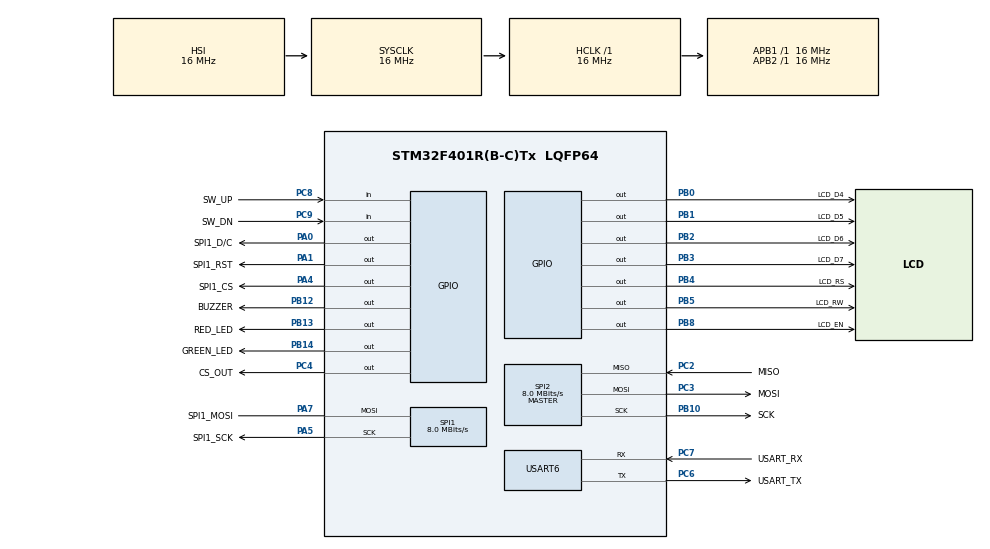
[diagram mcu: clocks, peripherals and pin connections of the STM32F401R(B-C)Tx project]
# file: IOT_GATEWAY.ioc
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Mcu.Family=STM32F4
Mcu.Name=STM32F401R(B-C)Tx
Mcu.Package=LQFP64
NVIC.PriorityGroup=NVIC_PRIORITYGROUP_4
NVIC.SPI2_IRQn=true\:0\:0\:false\:false\:true\:true\:true\:true
NVIC.USART6_IRQn=true\:0\:0\:false\:false\:true\:true\:true\:true
PA0-WKUP.GPIO_Label=SPI1_D/C
PA0-WKUP.Signal=GPIO_Output
PA1.GPIO_Label=SPI1_RST
PA1.Signal=GPIO_Output
PA13.Mode=Serial_Wire
PA13.Signal=SYS_JTMS-SWDIO
PA14.Mode=Serial_Wire
PA14.Signal=SYS_JTCK-SWCLK
PA4.GPIO_Label=SPI1_CS
PA4.Signal=GPIO_Output
PA5.GPIO_Label=SPI1_SCK
PA5.Mode=Simplex_Bidirectional_Master
PA5.Signal=SPI1_SCK
PA7.GPIO_Label=SPI1_MOSI
PA7.Mode=Simplex_Bidirectional_Master
PA7.Signal=SPI1_MOSI
PB0.GPIO_Label=LCD_D4
PB0.Signal=GPIO_Output
PB1.GPIO_Label=LCD_D5
PB1.Signal=GPIO_Output
PB10.GPIO_Label=SCK
PB10.GPIO_PuPd=GPIO_PULLUP
PB10.Mode=Full_Duplex_Master
PB10.Signal=SPI2_SCK
PB12.GPIO_Label=BUZZER
PB12.Signal=GPIO_Output
PB13.GPIO_Label=RED_LED
PB13.Signal=GPIO_Output
PB14.GPIO_Label=GREEN_LED
PB14.Signal=GPIO_Output
PB2.GPIO_Label=LCD_D6
PB2.Signal=GPIO_Output
PB3.GPIO_Label=LCD_D7
PB3.Signal=GPIO_Output
PB4.GPIO_Label=LCD_RS
PB4.Signal=GPIO_Output
PB5.GPIO_Label=LCD_RW
PB5.Signal=GPIO_Output
PB8.GPIO_Label=LCD_EN
PB8.Signal=GPIO_Output
PC2.GPIO_Label=MISO
PC2.GPIO_PuPd=GPIO_PULLUP
PC2.Mode=Full_Duplex_Master
PC2.Signal=SPI2_MISO
PC3.GPIO_Label=MOSI
PC3.GPIO_PuPd=GPIO_PULLUP
PC3.Mode=Full_Duplex_Master
PC3.Signal=SPI2_MOSI
PC4.GPIO_Label=CS_OUT
PC4.GPIO_PuPd=GPIO_PULLUP
PC4.Signal=GPIO_Output
PC6.GPIO_Label=USART_TX
PC6.Mode=Asynchronous
PC6.Signal=USART6_TX
PC7.GPIO_Label=USART_RX
PC7.Mode=Asynchronous
PC7.Signal=USART6_RX
PC8.GPIO_Label=SW_UP
PC8.GPIO_PuPd=GPIO_PULLUP
PC8.Signal=GPIO_Input
PC9.GPIO_Label=SW_DN
PC9.GPIO_PuPd=GPIO_PULLUP
PC9.Signal=GPIO_Input
ProjectManager.HeapSize=0x200
ProjectManager.StackSize=0x400
ProjectManager.TargetToolchain=STM32CubeIDE
RCC.AHBFreq_Value=16000000
RCC.APB1Freq_Value=16000000
RCC.APB2Freq_Value=16000000
RCC.CortexFreq_Value=16000000
RCC.HSE_VALUE=25000000
RCC.HSI_VALUE=16000000
RCC.LSE_VALUE=32768
RCC.SYSCLKFreq_VALUE=16000000
RCC.VCOOutputFreq_Value=192000000
SPI1.CalculateBaudRate=8.0 MBits/s
SPI1.Direction=SPI_DIRECTION_1LINE
SPI1.Mode=SPI_MODE_MASTER
SPI1.VirtualType=VM_MASTER
SPI2.CalculateBaudRate=8.0 MBits/s
SPI2.Direction=SPI_DIRECTION_2LINES
SPI2.Mode=SPI_MODE_MASTER
SPI2.VirtualType=VM_MASTER
USART6.VirtualMode=VM_ASYNC
board=custom

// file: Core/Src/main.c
/* USER CODE BEGIN Header */
/*
 * Project Name: INDUSTRIAL CAN IOT GATEWAY
 *
 * Controller: STM32F401RBT6
 *
 * Peripherals

  		Switches--->	SW_UP: PC8 SW_DN: PC9

 		SPI2------->	SPI for MCP2515:
			 	 	 	SPI2 MOSI: PC3
                        SPI2 MISO: PC2
                        SPI2 CS  : PC4
                        SPI2 SCK : PB10

        UART6------->   UART6 for ESP8266:
                        UART6 TX: PC6
                        UART6 RX: PC7

        LCD Pins:--->   Data   : GPIOB PB0 TO PB6 AND PB8
                        Control: GPIOB PB3

        CAN Bus:--->	MCP2515 connected to CAN_H and CAN_L.
 *
 * Team Members: VISWANADHUNI TEJO PRAPULLA
 *               DUPAGUNTLA VENKATA SIVA BABA
 *               SHAPARTHI NIKHIL
 *               GADDE VIDHYADHARI
 *               KOMMINENI CHANDU MANI SAI
 *               SUNKU SRIDEVI
 *
 *
 *

  ******************************************************************************
  * @file           : main.c
  * @brief          : Main program body
  ******************************************************************************
  * @attention
  *
  * Copyright (c) 2024 STMicroelectronics.
  * All rights reserved.
  *
  * This software is licensed under terms that can be found in the LICENSE file
  * in the root directory of this software component.
  * If no LICENSE file comes with this software, it is provided AS-IS.
  *
  ******************************************************************************
  */
/* USER CODE END Header */
#include "main.h"

/* USER CODE BEGIN Includes */
#include "CANSPI.h"
//#include "16x2_LCD.h"
#include "USART6.h"
#include "stdio.h"
#include "st7735.h"
//#include "img.h"
#include "fonts.h"
//#include "GFX.h"
/* USER CODE END Includes */

SPI_HandleTypeDef hspi1;
SPI_HandleTypeDef hspi2;

UART_HandleTypeDef huart6;

/* USER CODE BEGIN PV */
int DATA_RECIEVED;         //VARIABLE FOR CHECKING THE TASK 2
uCAN_MSG Msg;             //CAN MESSAGE STRUCTURE
unsigned int temp,node;   //VARIABLES FOR TEMPERATURE AND NODE_ID
char data[20];            //CHAR ARRAY FOR PRINTING IN LCD

/* USER CODE END PV */

void SystemClock_Config(void);
static void MX_GPIO_Init(void);
static void MX_SPI2_Init(void);
static void MX_USART6_UART_Init(void);
static void MX_SPI1_Init(void);
/* USER CODE BEGIN PFP */
void TASK1_CAN_DataFrame(void);
void Task2_CAN_ResponseFrame(void);
void Task3__KMserver(void);
/* USER CODE END PFP */

int main(void)
{

  /* MCU Configuration--------------------------------------------------------*/

  /* Reset of all peripherals, Initializes the Flash interface and the Systick. */
  HAL_Init();

  /* Configure the system clock */
  SystemClock_Config();

  /* Initialize all configured peripherals */
  MX_GPIO_Init();
  MX_SPI2_Init();
  MX_USART6_UART_Init();
  MX_SPI1_Init();
  /* USER CODE BEGIN 2 */
  CANSPI_Initialize();
  ST7735_Init();

 // testAll();
 // testFilledRoundRects();
 // while(1);

  ST7735_FillScreen(ST7735_BLACK);
  ST7735_WriteString(45, 30, "Welcome", Font_11x18, ST7735_WHITE, ST7735_BLACK);
  HAL_Delay(100);
  ST7735_WriteString(70, 50, "to", Font_11x18, ST7735_WHITE, ST7735_BLACK);
  HAL_Delay(100);
  ST7735_WriteString(5, 73, "Kernel Masters", Font_11x18, ST7735_WHITE, ST7735_BLACK);
  HAL_Delay(500);

  ST7735_WriteString(45, 30, "       ", Font_11x18, ST7735_WHITE, ST7735_BLACK);
   HAL_Delay(100);
   ST7735_WriteString(25, 50, "Presenting", Font_11x18, ST7735_WHITE, ST7735_BLACK);
   HAL_Delay(100);
   ST7735_WriteString(5, 73, "    you...    ", Font_11x18, ST7735_WHITE, ST7735_BLACK);
   HAL_Delay(1000);

  ST7735_FillScreenFast(ST7735_BLACK);
  //testFilledCircles(10, ST7735_RED);
 // testFastLines(ST7735_RED, ST7735_BLUE);

  ST7735_WriteString(30, 20, "Industial", Font_11x18, ST7735_WHITE, ST7735_BLACK);
  ST7735_WriteString(10, 50, "CAN - IOT", Font_16x26, ST7735_WHITE, ST7735_BLACK);
  ST7735_WriteString(43, 85, "GATEWAY", Font_11x18, ST7735_WHITE, ST7735_BLACK);
  //ST7735_WriteString(35, 30, "Industial CAN IOT GATEWAY ", Font_11x18, ST7735_WHITE, ST7735_BLACK);

 // while(1);
  HAL_Delay(200);

  ST7735_FillScreenFast(ST7735_BLACK);
  ST7735_WriteString(15, 45, "Initializing", Font_11x18, ST7735_WHITE, ST7735_BLACK);
  ST7735_WriteString(45, 75, "Wi-Fi", Font_11x18, ST7735_WHITE, ST7735_BLACK);
  Wifi_Init();
  for(int i=0;i<10;i++)
  {
	  ST7735_WriteString(100, 75, "   ", Font_11x18, ST7735_WHITE, ST7735_BLACK);
	  HAL_Delay(150);
	  ST7735_WriteString(100, 75, "...", Font_11x18, ST7735_WHITE, ST7735_BLACK);
  }

  ST7735_FillScreenFast(ST7735_BLACK);
  //ST7735_DrawImage(0, 0, 128, 160, (uint16_t *)logo);
  ST7735_WriteString(5, 5, "KERNEL MASTERS", Font_11x18, ST7735_WHITE, ST7735_BLACK);
  ST7735_WriteString(20, 25, "IOT GATEWAY", Font_11x18, ST7735_WHITE, ST7735_BLACK);
  ST7735_WriteString(5, 50, "Node1:", Font_11x18, ST7735_WHITE, ST7735_BLACK);
  ST7735_WriteString(5, 70, "Node2:", Font_11x18, ST7735_WHITE, ST7735_BLACK);

  //while(1);
  //HAL_Delay(1500);
 // Wifi_Init();
  //ST7735_FillScreen(ST7735_BLACK);
  //ST7735_WriteString(0, 30, "SELECT        NODE1:SW_UP   NODE2:SW_DN ", Font_11x18, ST7735_WHITE, ST7735_BLACK);

  /*
  KM_LCD_Init();

  KM_LCD_Write_Cmd(0x80);
  KM_LCD_Write_Str(" Industrial CAN");
  KM_LCD_Write_Cmd(0xc0);
  KM_LCD_Write_Str("  IOT GATEWAY");
  HAL_Delay(1500);
  KM_LCD_Write_Cmd(0x01);
  KM_LCD_Write_Cmd(0x80);
  KM_LCD_Write_Str("  Initializing");
  KM_LCD_Write_Cmd(0xc0);
  KM_LCD_Write_Str("     Wi-Fi");

  Wifi_Init();
  KM_LCD_Write_Cmd(0x01);
  KM_LCD_Write_Cmd(0x80);
  KM_LCD_Write_Str("SELECT :SW_UP");
  KM_LCD_Write_Cmd(0xc0);
  KM_LCD_Write_Str("        SW_DN");

*/

  /* USER CODE END 2 */

  /* Infinite loop */
  while (1)
  {

    /* USER CODE BEGIN 3 */
	TASK1_CAN_DataFrame();     //SENDS DATA REQUEST TO NODE

	Task2_CAN_ResponseFrame();   //RECIEVES DATA FROM NODE

	if(DATA_RECIEVED)            //CHECKING IF THE DATA RECIEVED OR NOT
	{
		 Task3__KMserver();        //IF DATA RECIEVED SENDING TO KM SERVER
		 DATA_RECIEVED = 0;
	}

  }
  /* USER CODE END 3 */
}

void SystemClock_Config(void)
{
  RCC_OscInitTypeDef RCC_OscInitStruct = {0};
  RCC_ClkInitTypeDef RCC_ClkInitStruct = {0};

  /** Configure the main internal regulator output voltage
  */
  __HAL_RCC_PWR_CLK_ENABLE();
  __HAL_PWR_VOLTAGESCALING_CONFIG(PWR_REGULATOR_VOLTAGE_SCALE2);

  /** Initializes the RCC Oscillators according to the specified parameters
  * in the RCC_OscInitTypeDef structure.
  */
  RCC_OscInitStruct.OscillatorType = RCC_OSCILLATORTYPE_HSI;
  RCC_OscInitStruct.HSIState = RCC_HSI_ON;
  RCC_OscInitStruct.HSICalibrationValue = RCC_HSICALIBRATION_DEFAULT;
  RCC_OscInitStruct.PLL.PLLState = RCC_PLL_NONE;
  if (HAL_RCC_OscConfig(&RCC_OscInitStruct) != HAL_OK)
  {
    Error_Handler();
  }

  /** Initializes the CPU, AHB and APB buses clocks
  */
  RCC_ClkInitStruct.ClockType = RCC_CLOCKTYPE_HCLK|RCC_CLOCKTYPE_SYSCLK
                              |RCC_CLOCKTYPE_PCLK1|RCC_CLOCKTYPE_PCLK2;
  RCC_ClkInitStruct.SYSCLKSource = RCC_SYSCLKSOURCE_HSI;
  RCC_ClkInitStruct.AHBCLKDivider = RCC_SYSCLK_DIV1;
  RCC_ClkInitStruct.APB1CLKDivider = RCC_HCLK_DIV1;
  RCC_ClkInitStruct.APB2CLKDivider = RCC_HCLK_DIV1;

  if (HAL_RCC_ClockConfig(&RCC_ClkInitStruct, FLASH_LATENCY_0) != HAL_OK)
  {
    Error_Handler();
  }
}

static void MX_SPI1_Init(void)
{

  /* SPI1 parameter configuration*/
  hspi1.Instance = SPI1;
  hspi1.Init.Mode = SPI_MODE_MASTER;
  hspi1.Init.Direction = SPI_DIRECTION_1LINE;
  hspi1.Init.DataSize = SPI_DATASIZE_8BIT;
  hspi1.Init.CLKPolarity = SPI_POLARITY_LOW;
  hspi1.Init.CLKPhase = SPI_PHASE_1EDGE;
  hspi1.Init.NSS = SPI_NSS_SOFT;
  hspi1.Init.BaudRatePrescaler = SPI_BAUDRATEPRESCALER_2;
  hspi1.Init.FirstBit = SPI_FIRSTBIT_MSB;
  hspi1.Init.TIMode = SPI_TIMODE_DISABLE;
  hspi1.Init.CRCCalculation = SPI_CRCCALCULATION_DISABLE;
  hspi1.Init.CRCPolynomial = 10;
  if (HAL_SPI_Init(&hspi1) != HAL_OK)
  {
    Error_Handler();
  }

}

static void MX_SPI2_Init(void)
{

  /* SPI2 parameter configuration*/
  hspi2.Instance = SPI2;
  hspi2.Init.Mode = SPI_MODE_MASTER;
  hspi2.Init.Direction = SPI_DIRECTION_2LINES;
  hspi2.Init.DataSize = SPI_DATASIZE_8BIT;
  hspi2.Init.CLKPolarity = SPI_POLARITY_LOW;
  hspi2.Init.CLKPhase = SPI_PHASE_1EDGE;
  hspi2.Init.NSS = SPI_NSS_SOFT;
  hspi2.Init.BaudRatePrescaler = SPI_BAUDRATEPRESCALER_2;
  hspi2.Init.FirstBit = SPI_FIRSTBIT_MSB;
  hspi2.Init.TIMode = SPI_TIMODE_DISABLE;
  hspi2.Init.CRCCalculation = SPI_CRCCALCULATION_DISABLE;
  hspi2.Init.CRCPolynomial = 10;
  if (HAL_SPI_Init(&hspi2) != HAL_OK)
  {
    Error_Handler();
  }

}

static void MX_USART6_UART_Init(void)
{

  huart6.Instance = USART6;
  huart6.Init.BaudRate = 115200;
  huart6.Init.WordLength = UART_WORDLENGTH_8B;
  huart6.Init.StopBits = UART_STOPBITS_1;
  huart6.Init.Parity = UART_PARITY_NONE;
  huart6.Init.Mode = UART_MODE_TX_RX;
  huart6.Init.HwFlowCtl = UART_HWCONTROL_NONE;
  huart6.Init.OverSampling = UART_OVERSAMPLING_16;
  if (HAL_UART_Init(&huart6) != HAL_OK)
  {
    Error_Handler();
  }

}

static void MX_GPIO_Init(void)
{
  GPIO_InitTypeDef GPIO_InitStruct = {0};

  /* GPIO Ports Clock Enable */
  __HAL_RCC_GPIOC_CLK_ENABLE();
  __HAL_RCC_GPIOA_CLK_ENABLE();
  __HAL_RCC_GPIOB_CLK_ENABLE();

  /*Configure GPIO pin Output Level */
  HAL_GPIO_WritePin(GPIOA, SPI1_D_C_Pin|SPI1_RST_Pin|SPI1_CS_Pin, GPIO_PIN_RESET);

  /*Configure GPIO pin Output Level */
  HAL_GPIO_WritePin(CS_OUT_GPIO_Port, CS_OUT_Pin, GPIO_PIN_RESET);

  /*Configure GPIO pin Output Level */
  HAL_GPIO_WritePin(GPIOB, LCD_D4_Pin|LCD_D5_Pin|LCD_D6_Pin|BUZZER_Pin
                          |RED_LED_Pin|GREEN_LED_Pin|LCD_D7_Pin|LCD_RS_Pin
                          |LCD_RW_Pin|LCD_EN_Pin, GPIO_PIN_RESET);

  /*Configure GPIO pins : SPI1_D_C_Pin SPI1_RST_Pin SPI1_CS_Pin */
  GPIO_InitStruct.Pin = SPI1_D_C_Pin|SPI1_RST_Pin|SPI1_CS_Pin;
  GPIO_InitStruct.Mode = GPIO_MODE_OUTPUT_PP;
  GPIO_InitStruct.Pull = GPIO_NOPULL;
  GPIO_InitStruct.Speed = GPIO_SPEED_FREQ_LOW;
  HAL_GPIO_Init(GPIOA, &GPIO_InitStruct);

  /*Configure GPIO pin : CS_OUT_Pin */
  GPIO_InitStruct.Pin = CS_OUT_Pin;
  GPIO_InitStruct.Mode = GPIO_MODE_OUTPUT_PP;
  GPIO_InitStruct.Pull = GPIO_PULLUP;
  GPIO_InitStruct.Speed = GPIO_SPEED_FREQ_LOW;
  HAL_GPIO_Init(CS_OUT_GPIO_Port, &GPIO_InitStruct);

  /*Configure GPIO pins : LCD_D4_Pin LCD_D5_Pin LCD_D6_Pin BUZZER_Pin
                           RED_LED_Pin GREEN_LED_Pin LCD_D7_Pin LCD_RS_Pin
                           LCD_RW_Pin LCD_EN_Pin */
  GPIO_InitStruct.Pin = LCD_D4_Pin|LCD_D5_Pin|LCD_D6_Pin|BUZZER_Pin
                          |RED_LED_Pin|GREEN_LED_Pin|LCD_D7_Pin|LCD_RS_Pin
                          |LCD_RW_Pin|LCD_EN_Pin;
  GPIO_InitStruct.Mode = GPIO_MODE_OUTPUT_PP;
  GPIO_InitStruct.Pull = GPIO_NOPULL;
  GPIO_InitStruct.Speed = GPIO_SPEED_FREQ_LOW;
  HAL_GPIO_Init(GPIOB, &GPIO_InitStruct);

  /*Configure GPIO pins : SW_UP_Pin SW_DN_Pin */
  GPIO_InitStruct.Pin = SW_UP_Pin|SW_DN_Pin;
  GPIO_InitStruct.Mode = GPIO_MODE_INPUT;
  GPIO_InitStruct.Pull = GPIO_PULLUP;
  HAL_GPIO_Init(GPIOC, &GPIO_InitStruct);

}

/* USER CODE BEGIN 4 */
void TASK1_CAN_DataFrame(void)
{
	if(!(HAL_GPIO_ReadPin(SW_UP_GPIO_Port, SW_UP_Pin)))
	{
		HAL_Delay(200);
		HAL_GPIO_WritePin(RED_LED_GPIO_Port, RED_LED_Pin,1);
		HAL_Delay(100);
		HAL_GPIO_WritePin(RED_LED_GPIO_Port, RED_LED_Pin,0);

		Msg.frame.idType = 0; //for STANDARD_FRAME
		Msg.frame.id = 0X01;  //Message ID
		Msg.frame.dlc = 0;   //dlc
		Msg.frame.data0 = 0;
		CANSPI_Transmit(&Msg);
		//SW_UP = 0;
	}
	if(!(HAL_GPIO_ReadPin(SW_DN_GPIO_Port, SW_DN_Pin)))
		{
			HAL_Delay(200);
			HAL_GPIO_WritePin(GREEN_LED_GPIO_Port, GREEN_LED_Pin,1);
			HAL_Delay(100);
			HAL_GPIO_WritePin(GREEN_LED_GPIO_Port, GREEN_LED_Pin,0);

			Msg.frame.idType = 0; //for STANDARD_FRAME
			Msg.frame.id = 0X02;  //Message ID
			Msg.frame.dlc = 0;   //dlc
			Msg.frame.data0 = 0;
			CANSPI_Transmit(&Msg);
			//SW_DN = 0;
		}

}

void Task2_CAN_ResponseFrame(void)
{
	if(CANSPI_Receive(&Msg))
	{
		temp = Msg.frame.data0;
		node = Msg.frame.id;

	//	KM_LCD_Write_Cmd(0x01);
		sprintf(data,"%d",temp);

		if(node==1)
		{
			ST7735_WriteString(70, 50,"  ", Font_11x18, ST7735_WHITE, ST7735_BLACK);
			ST7735_WriteString(70, 50,data, Font_11x18, ST7735_WHITE, ST7735_BLACK);
		}
		else if(node==2)
		{
			ST7735_WriteString(70, 70,"  ", Font_11x18, ST7735_WHITE, ST7735_BLACK);
			ST7735_WriteString(70, 70,data, Font_11x18, ST7735_WHITE, ST7735_BLACK);

		}

/*
		KM_LCD_Write_Str(data);
		KM_LCD_Write_Cmd(0x87);
		KM_LCD_Write_Data(0xdf);
*/
		DATA_RECIEVED = 1;

	//Task3__KMserver();
	}

}

void Task3__KMserver(void)
{
	Wifi_Transmit();

}

/* USER CODE END 4 */

void Error_Handler(void)
{
  __disable_irq();
  while (1)
  {
  }
}
